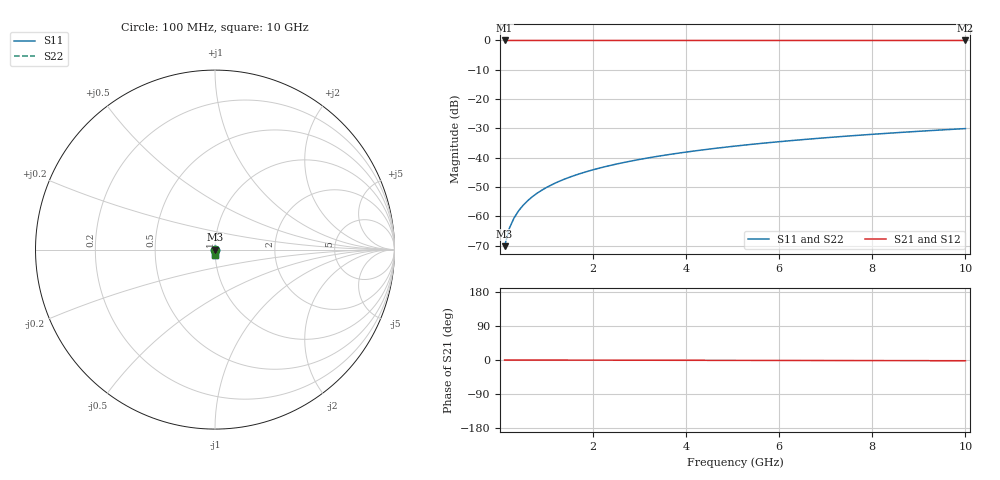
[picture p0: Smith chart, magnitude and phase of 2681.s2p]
# Hz S RI R 50.00
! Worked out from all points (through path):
!   100 points, 100 MHz to 10 GHz, reference 50 ohm
!   highest |S21| = 0.00 dB at 100 MHz (marker M1); lowest = 0.0 dB at 10 GHz (marker M2)
!   lowest |S11| = -70.1 dB at 100 MHz (marker M3), VSWR 1.00, Z = 50 - j0.0312 ohm
!   |S11| at or under -10 dB: start of sweep to end of sweep
!   |S22| runs from -70.1 to -30.0 dB; largest |S21 - S12| = 0
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1e8  1.98e-06 -0.000312  1 -0.000336  1 -0.000336  1.98e-06 -0.000312
2e8  1.36e-06 -0.000624  1 -0.000673  1 -0.000673  1.36e-06 -0.000624
3e8  5.35e-07 -0.000936  1 -0.00101  1 -0.00101  5.35e-07 -0.000936
4e8  -5.05e-07 -0.00125  1 -0.00135  1 -0.00135  -5.05e-07 -0.00125
5e8  -1.76e-06 -0.00156  1 -0.00168  1 -0.00168  -1.76e-06 -0.00156
6e8  -3.22e-06 -0.00187  1 -0.00202  1 -0.00202  -3.22e-06 -0.00187
7e8  -4.9e-06 -0.00218  1 -0.00235  1 -0.00235  -4.9e-06 -0.00218
8e8  -6.78e-06 -0.0025  1 -0.00269  1 -0.00269  -6.78e-06 -0.0025
9e8  -8.88e-06 -0.00281  1 -0.00303  1 -0.00303  -8.88e-06 -0.00281
1.1e9  -1.37e-05 -0.00343  1 -0.0037  1 -0.0037  -1.37e-05 -0.00343
1.4e9  -2.25e-05 -0.00437  1 -0.00471  1 -0.00471  -2.25e-05 -0.00437
1.8e9  -3.73e-05 -0.00562  1 -0.00606  1 -0.00606  -3.73e-05 -0.00562
2.1e9  -5.05e-05 -0.00656  0.9999 -0.00707  0.9999 -0.00707  -5.05e-05 -0.00656
2.5e9  -7.12e-05 -0.00781  0.9999 -0.00842  0.9999 -0.00842  -7.12e-05 -0.00781
2.9e9  -9.53e-05 -0.00907  0.9999 -0.00978  0.9999 -0.00978  -9.53e-05 -0.00907
3.4e9  -0.00013 -0.0106  0.9999 -0.0115  0.9999 -0.0115  -0.00013 -0.0106
4.2e9  -0.000197 -0.0131  0.9998 -0.0142  0.9998 -0.0142  -0.000197 -0.0131
5.1e9  -0.000289 -0.016  0.9997 -0.0172  0.9997 -0.0172  -0.000289 -0.016
5.9e9  -0.000386 -0.0185  0.9996 -0.02  0.9996 -0.02  -0.000386 -0.0185
6.7e9  -0.000496 -0.021  0.9995 -0.0227  0.9995 -0.0227  -0.000496 -0.021
8.4e9  -0.000776 -0.0264  0.9992 -0.0285  0.9992 -0.0285  -0.000776 -0.0264
1e10  -0.0011 -0.0315  0.9989 -0.0339  0.9989 -0.0339  -0.0011 -0.0315
